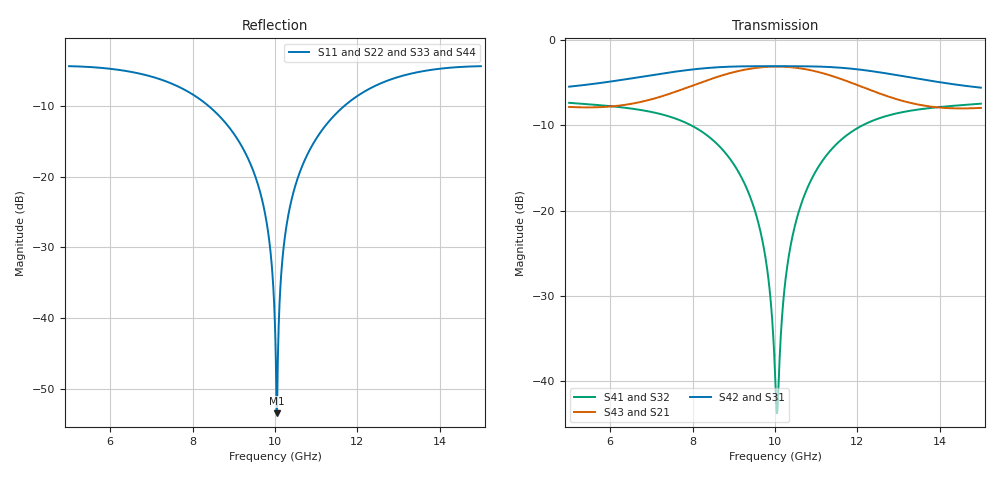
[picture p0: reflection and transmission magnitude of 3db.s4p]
! Created Wed Aug 30 10:33:10 2023
# ghz S ri R 50
! 4 Port Network Data from SP1.SP block
! freq  reS11  imS11  reS12  imS12  reS13  imS13  reS14  imS14
!  reS21  imS21  reS22  imS22  reS23  imS23  reS24  imS24
!  reS31  imS31  reS32  imS32  reS33  imS33  reS34  imS34
!  reS41  imS41  reS42  imS42  reS43  imS43  reS44  imS44
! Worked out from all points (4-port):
!   1001 points, 5 GHz to 15 GHz, reference 50 ohm
!   strongest paths, dB at 5 GHz, 7.5 GHz, 10 GHz, 12.5 GHz, 15 GHz:
!     S42: -5.5, -3.8, -3.1, -3.8, -5.6
!     S31: -5.5, -3.8, -3.1, -3.8, -5.6
!     S43: -7.9, -6.2, -3.1, -6.2, -8.0
!     S21: -7.9, -6.2, -3.1, -6.2, -8.0
!     S41: -7.4, -9.1, -39.0, -9.2, -7.5
!     S32: -7.4, -9.1, -39.0, -9.2, -7.5
!   lowest |S11| = -53.5 dB at 10.04 GHz (marker M1), VSWR 1.00, Z = 50.2 + j0.123 ohm
!   |S11| at or under -10 dB: 8.386 GHz to 11.68 GHz (3.297 GHz wide, 32.9 % of centre)
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5  -0.1314 0.5896  -0.0794 -0.3969  -0.3947 -0.3569  -0.2469 -0.3495
   -0.0794 -0.3969  -0.1314 0.5896  -0.2469 -0.3495  -0.3947 -0.3569
   -0.3947 -0.3569  -0.2469 -0.3495  -0.1314 0.5896  -0.0794 -0.3969
   -0.2469 -0.3495  -0.3947 -0.3569  -0.0794 -0.3969  -0.1314 0.5896
8.99  0.203 -0.00843  -0.6448 -0.0458  -0.0702 0.6942  -0.0522 0.1808
      -0.6448 -0.0458  0.203 -0.00843  -0.0522 0.1808  -0.0702 0.6942
      -0.0702 0.6942  -0.0522 0.1808  0.203 -0.00843  -0.6448 -0.0458
      -0.0522 0.1808  -0.0702 0.6942  -0.6448 -0.0458  0.203 -0.00843
9.76  0.0507 -0.02  -0.6476 0.2491  0.2505 0.6552  0.011 0.0535
      -0.6476 0.2491  0.0507 -0.02  0.011 0.0535  0.2505 0.6552
      0.2505 0.6552  0.011 0.0535  0.0507 -0.02  -0.6476 0.2491
      0.011 0.0535  0.2505 0.6552  -0.6476 0.2491  0.0507 -0.02
10.04  0.00174 0.00122  -0.6009 0.3546  0.3564 0.6041  -0.00475 0.00473
       -0.6009 0.3546  0.00174 0.00122  -0.00475 0.00473  0.3564 0.6041
       0.3564 0.6041  -0.00475 0.00473  0.00174 0.00122  -0.6009 0.3546
       -0.00475 0.00473  0.3564 0.6041  -0.6009 0.3546  0.00174 0.00122
10.33  -0.0419 0.0353  -0.5279 0.4494  0.4555 0.5332  -0.0408 -0.0342
       -0.5279 0.4494  -0.0419 0.0353  -0.0408 -0.0342  0.4555 0.5332
       0.4555 0.5332  -0.0408 -0.0342  -0.0419 0.0353  -0.5279 0.4494
       -0.0408 -0.0342  0.4555 0.5332  -0.5279 0.4494  -0.0419 0.0353
11.09  -0.1042 0.1743  -0.2688 0.5861  0.642 0.272  -0.1817 -0.0406
       -0.2688 0.5861  -0.1042 0.1743  -0.1817 -0.0406  0.642 0.272
       0.642 0.272  -0.1817 -0.0406  -0.1042 0.1743  -0.2688 0.5861
       -0.1817 -0.0406  0.642 0.272  -0.2688 0.5861  -0.1042 0.1743
15  0.5813 0.1633  0.3036 0.26  -0.1241 -0.51  0.188 0.3789
    0.3036 0.26  0.5813 0.1633  0.188 0.3789  -0.1241 -0.51
    -0.1241 -0.51  0.188 0.3789  0.5813 0.1633  0.3036 0.26
    0.188 0.3789  -0.1241 -0.51  0.3036 0.26  0.5813 0.1633
